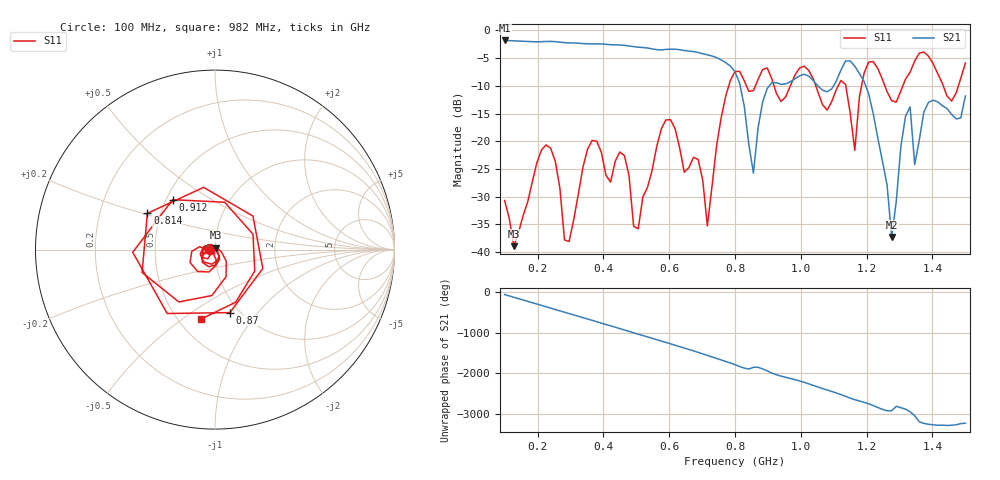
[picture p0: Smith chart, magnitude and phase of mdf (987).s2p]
! NanoVNA-App
! Date: 2025-09-25 15:46:06
! Start: 100MHz Stop: 1,5GHz Points: 101
! S-Parameter data: F S11 S21 S12 S22
# Hz S RI R 50
!  Frequency  S11_Real  S11_Imag  S21_Real  S21_Imag  S12_Real  S12_Imag  S22_Real  S22_Imag
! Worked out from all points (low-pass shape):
!   101 points, 100 MHz to 1.5 GHz, reference 50 ohm
!   highest |S21| = -1.80 dB at 100 MHz (marker M1); lowest = -37.3 dB at 1.276 GHz (marker M2)
!   |S21| within 3 dB of the highest: start of sweep to 739.5 MHz
!   lowest |S11| = -39.0 dB at 128 MHz (marker M3), VSWR 1.02, Z = 50.3 + j1.08 ohm
!   |S11| at or under -10 dB: start of sweep to 781.1 MHz; 918.6 MHz to 968.2 MHz (49.66 MHz wide, 5.26 % of centre); 1.045 GHz to 1.114 GHz (68.32 MHz wide, 6.33 % of centre) (the widest 3 of 7)
!   S12 and S22 are empty: the file has one direction only
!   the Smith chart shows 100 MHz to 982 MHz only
!   S11 on the Smith chart (normalised r, x): 100 MHz: 0.94, -0.01; 814 MHz: 0.42, +0.21; 870 MHz: 0.90, -0.73; 912 MHz: 0.54, +0.35; 982 MHz: 0.64, -0.59
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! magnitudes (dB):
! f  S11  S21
! 100 MHz  -30.7  -1.8
! 128 MHz  -39.0  -1.9
! 212 MHz  -21.6  -2.0
! 282 MHz  -37.8  -2.2
! 338 MHz  -24.7  -2.4
! 464 MHz  -22.6  -2.7
! 506 MHz  -35.8  -3.0
! 576 MHz  -17.8  -3.5
! 716 MHz  -35.3  -4.4
! 800 MHz  -7.4  -7.4
! 814 MHz  -7.4  -9.5
! 856 MHz  -10.9  -25.8
! 870 MHz  -8.9  -17.7
! 912 MHz  -8.8  -9.4
! 982 MHz  -8.1  -8.7
! 1.038 GHz  -8.8  -9.0
! 1.164 GHz  -21.6  -6.4
! 1.192 GHz  -7.7  -9.2
! 1.276 GHz  -12.7  -37.3
! 1.332 GHz  -7.5  -13.8
! 1.346 GHz  -5.5  -24.2
! 1.5 GHz  -5.9  -11.8
